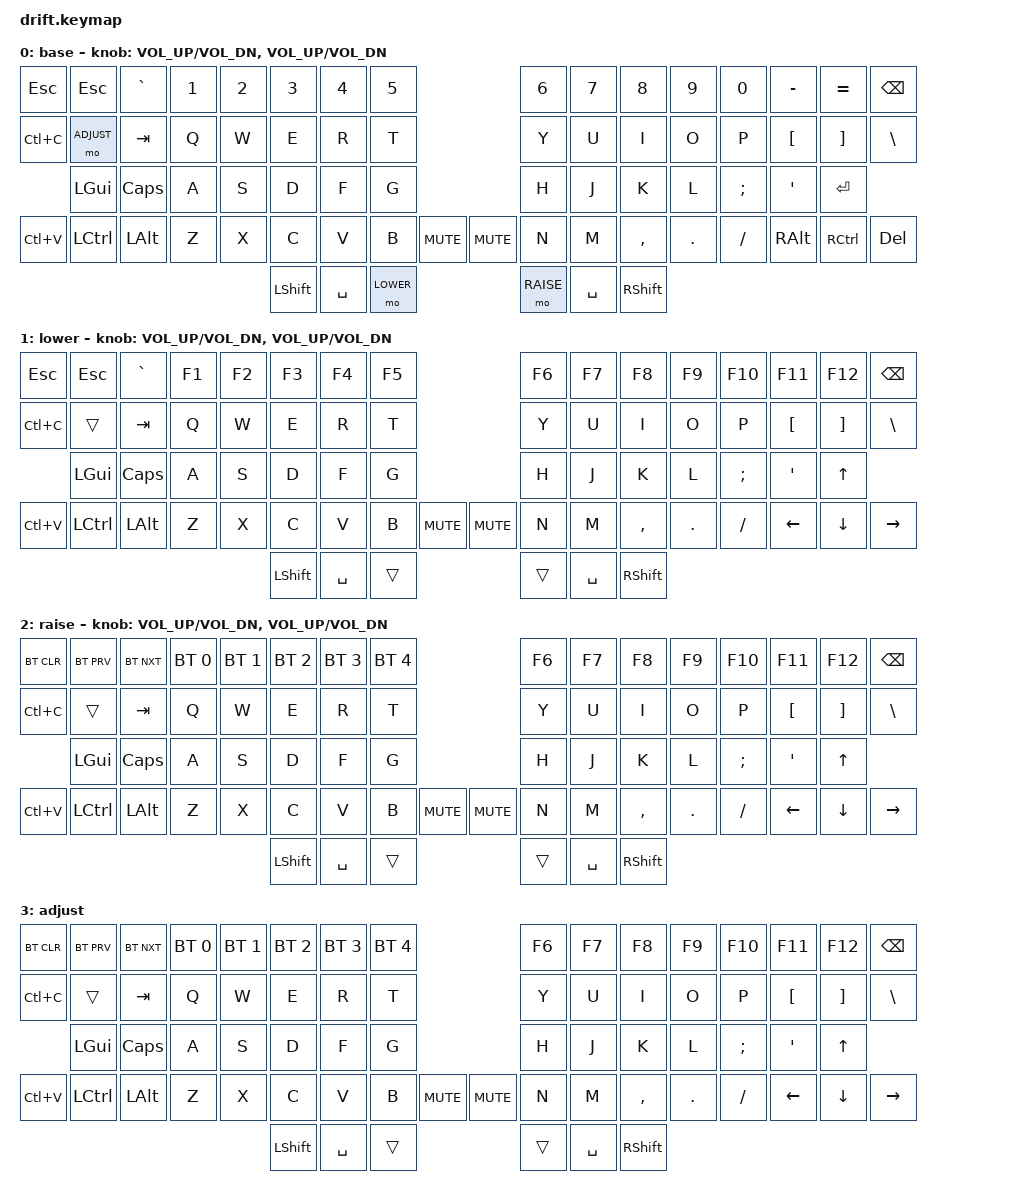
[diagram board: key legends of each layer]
/*
 * Copyright (c) 2020 The ZMK Contributors
 *
 * SPDX-License-Identifier: MIT
 */

#include <behaviors.dtsi>
#include <dt-bindings/zmk/bt.h>
#include <dt-bindings/zmk/keys.h>

#define BASE 0
#define LOWER 1
#define RAISE 2
#define ADJUST 3

/ {
    keymap {
        compatible = "zmk,keymap";

        default_layer {
            display-name = "base";

            // ------------------------------------------------------------------------------------------------------------
            // |  DEL  | ESC |   `   |  1  |  2  |  3   |  4   |  5   |                   |  6   |  7    |  8    |  9   |   0   |       |
            // |  ESC  |  Q  |  W  |  E   |  R   |  T   |                   |  Y   |  U    |  I    |  O   |   P   | BKSPC |
            // |  TAB  |  A  |  S  |  D   |  F   |  G   |                   |  H   |  J    |  K    |  L   |   ;   |   '   |
            // | SHIFT |  Z  |  X  |  C   |  V   |  B   |  MUTE  |  |       |  N   |  M    |  ,    |  .   |   /   | SHIFT |
            //               | GUI | ALT  | CTRL | LOWER|  ENTER |  | SPACE | RAISE| CTRL  | ALT   | GUI  |

            bindings = <
&kp ESC    &kp ESC     &kp GRAVE  &kp N1  &kp N2  &kp N3     &kp N4     &kp N5                             &kp N6     &kp N7     &kp N8     &kp N9   &kp N0    &kp MINUS  &kp EQUAL  &kp BSPC
&kp LC(C)  &mo ADJUST  &kp TAB    &kp Q   &kp W   &kp E      &kp R      &kp T                              &kp Y      &kp U      &kp I      &kp O    &kp P     &kp LBKT   &kp RBKT   &kp BSLH
           &kp LGUI    &kp CAPS   &kp A   &kp S   &kp D      &kp F      &kp G                              &kp H      &kp J      &kp K      &kp L    &kp SEMI  &kp SQT    &kp ENTER
&kp LC(V)  &kp LCTRL   &kp LALT   &kp Z   &kp X   &kp C      &kp V      &kp B      &kp C_MUTE  &kp C_MUTE  &kp N      &kp M      &kp COMMA  &kp DOT  &kp FSLH  &kp RALT   &kp RCTRL  &kp DEL
                                                  &kp LSHFT  &kp SPACE  &mo LOWER                          &mo RAISE  &kp SPACE  &kp RSHFT
            >;

            sensor-bindings = <&inc_dec_kp C_VOL_UP C_VOL_DN &inc_dec_kp C_VOL_UP C_VOL_DN>;
        };

        lower_layer {
            display-name = "lower";

            // TODO: Some binds are waiting for shifted keycode support.
            // ------------------------------------------------------------------------------------------------------------
            // |       |  F1 |  F2 |  F3  |  F4  |  F5  |                   |  F6  |  F7   |  F8   |  F9  |  F10  |  F11  |
            // |   `   |  1  |  2  |  3   |  4   |  5   |                   |  6   |  7    |  8    |  9   |   0   |  F12  |
            // |       |  !  |  @  |  #   |  $   |  %   |                   |  ^   |  &    |  *    |  (   |   )   |   |   |
            // |       |  =  |  -  |  +   |  {   |  }   |        |  |       |  [   |  ]    |  ;    |  :   |   \   |       |
            //               |     |      |      |      |        |  |       |      |       |       |      |

            bindings = <
&kp ESC    &kp ESC    &kp GRAVE  &kp F1  &kp F2  &kp F3     &kp F4     &kp F5                          &kp F6  &kp F7     &kp F8     &kp F9   &kp F10   &kp F11   &kp F12   &kp BSPC
&kp LC(C)  &trans     &kp TAB    &kp Q   &kp W   &kp E      &kp R      &kp T                           &kp Y   &kp U      &kp I      &kp O    &kp P     &kp LBKT  &kp RBKT  &kp BSLH
           &kp LGUI   &kp CAPS   &kp A   &kp S   &kp D      &kp F      &kp G                           &kp H   &kp J      &kp K      &kp L    &kp SEMI  &kp SQT   &kp UP
&kp LC(V)  &kp LCTRL  &kp LALT   &kp Z   &kp X   &kp C      &kp V      &kp B   &kp C_MUTE  &kp C_MUTE  &kp N   &kp M      &kp COMMA  &kp DOT  &kp FSLH  &kp LEFT  &kp DOWN  &kp RIGHT
                                                 &kp LSHFT  &kp SPACE  &trans                          &trans  &kp SPACE  &kp RSHFT
            >;

            sensor-bindings = <&inc_dec_kp C_VOL_UP C_VOL_DN &inc_dec_kp C_VOL_UP C_VOL_DN>;
        };

        raise_layer {
            display-name = "raise";

            // ------------------------------------------------------------------------------------------------------------
            // | BTCLR | BT1  | BT2  |  BT3  |  BT4  |  BT5 |                |      |      |       |      |       |       |
            // |       | INS  | PSCR | GUI   |       |      |                | PGUP |      |   ^   |      |       |       |
            // |       | ALT  | CTRL | SHIFT |       | CAPS |                | PGDN |   <- |   v   |  ->  |  DEL  | BKSPC |
            // |       | UNDO | CUT  | COPY  | PASTE |      |      |  |      |      |      |       |      |       |       |
            //                |      |       |       |      |      |  |      |      |      |       |      |

            bindings = <
&bt BT_CLR  &bt BT_PRV  &bt BT_NXT  &bt BT_SEL 0  &bt BT_SEL 1  &bt BT_SEL 2  &bt BT_SEL 3  &bt BT_SEL 4                          &kp F6  &kp F7     &kp F8     &kp F9   &kp F10   &kp F11   &kp F12   &kp BSPC
&kp LC(C)   &trans      &kp TAB     &kp Q         &kp W         &kp E         &kp R         &kp T                                 &kp Y   &kp U      &kp I      &kp O    &kp P     &kp LBKT  &kp RBKT  &kp BSLH
            &kp LGUI    &kp CAPS    &kp A         &kp S         &kp D         &kp F         &kp G                                 &kp H   &kp J      &kp K      &kp L    &kp SEMI  &kp SQT   &kp UP
&kp LC(V)   &kp LCTRL   &kp LALT    &kp Z         &kp X         &kp C         &kp V         &kp B         &kp C_MUTE  &kp C_MUTE  &kp N   &kp M      &kp COMMA  &kp DOT  &kp FSLH  &kp LEFT  &kp DOWN  &kp RIGHT
                                                                &kp LSHFT     &kp SPACE     &trans                                &trans  &kp SPACE  &kp RSHFT
            >;

            sensor-bindings = <&inc_dec_kp C_VOL_UP C_VOL_DN &inc_dec_kp C_VOL_UP C_VOL_DN>;
        };

        adjust_layer {
            // ----------------------------------------------------------------------------------------------------------------------------
            // | BTCLR  |  BT1    |  BT2    |   BT3   |   BT4   |   BT5   |                  |      |      |       |      |       |       |
            // | EXTPWR | RGB_HUD | RGB_HUI | RGB_SAD | RGB_SAI | RGB_EFF |                  |      |      |       |      |       |       |
            // |        | RGB_BRD | RGB_BRI |         |         |         |                  |      |      |       |      |       |       |
            // |        |         |         |         |         |         | RGB_TOG | |      |      |      |       |      |       |       |
            //                    |         |         |         |         |         | |      |      |      |       |      |

            display-name = "adjust";
            bindings = <
&bt BT_CLR  &bt BT_PRV  &bt BT_NXT  &bt BT_SEL 0  &bt BT_SEL 1  &bt BT_SEL 2  &bt BT_SEL 3  &bt BT_SEL 4                          &kp F6  &kp F7     &kp F8     &kp F9   &kp F10   &kp F11   &kp F12   &kp BSPC
&kp LC(C)   &trans      &kp TAB     &kp Q         &kp W         &kp E         &kp R         &kp T                                 &kp Y   &kp U      &kp I      &kp O    &kp P     &kp LBKT  &kp RBKT  &kp BSLH
            &kp LGUI    &kp CAPS    &kp A         &kp S         &kp D         &kp F         &kp G                                 &kp H   &kp J      &kp K      &kp L    &kp SEMI  &kp SQT   &kp UP
&kp LC(V)   &kp LCTRL   &kp LALT    &kp Z         &kp X         &kp C         &kp V         &kp B         &kp C_MUTE  &kp C_MUTE  &kp N   &kp M      &kp COMMA  &kp DOT  &kp FSLH  &kp LEFT  &kp DOWN  &kp RIGHT
                                                                &kp LSHFT     &kp SPACE     &trans                                &trans  &kp SPACE  &kp RSHFT
            >;
        };
    };
};
